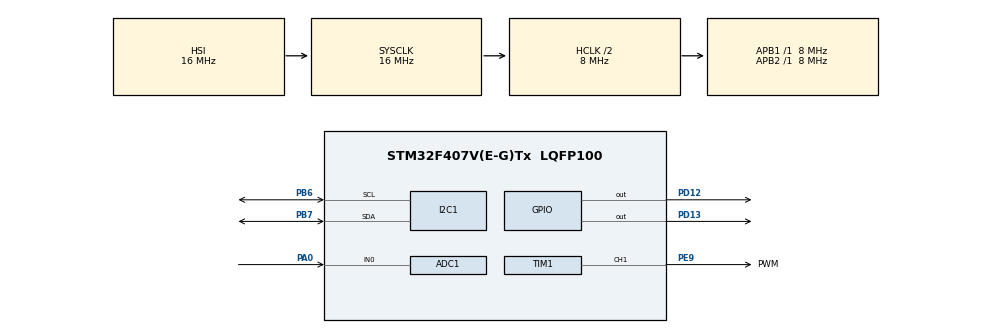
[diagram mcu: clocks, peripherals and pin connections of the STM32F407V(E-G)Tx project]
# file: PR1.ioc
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ADC1.Channel-0\#ChannelRegularConversion=ADC_CHANNEL_0
ADC1.NbrOfConversionFlag=1
ADC1.Rank-0\#ChannelRegularConversion=1
ADC1.SamplingTime-0\#ChannelRegularConversion=ADC_SAMPLETIME_3CYCLES
ADC1.master=1
Mcu.Family=STM32F4
Mcu.Name=STM32F407V(E-G)Tx
Mcu.Package=LQFP100
NVIC.ADC_IRQn=true\:0\:0\:false\:false\:true\:true
NVIC.I2C1_ER_IRQn=true\:0\:0\:false\:false\:true\:true
NVIC.I2C1_EV_IRQn=true\:0\:0\:false\:false\:true\:true
NVIC.PriorityGroup=NVIC_PRIORITYGROUP_4
NVIC.TIM6_DAC_IRQn=true\:0\:0\:false\:false\:true\:true
NVIC.TIM7_IRQn=true\:0\:0\:false\:false\:true\:true
PA0-WKUP.Signal=ADCx_IN0
PB6.Mode=I2C
PB6.Signal=I2C1_SCL
PB7.Mode=I2C
PB7.Signal=I2C1_SDA
PD12.Signal=GPIO_Output
PD13.Signal=GPIO_Output
PE9.GPIO_Label=PWM
PE9.GPIO_Speed=GPIO_SPEED_FREQ_HIGH
PE9.Signal=S_TIM1_CH1
PH0-OSC_IN.Mode=HSE-External-Oscillator
PH0-OSC_IN.Signal=RCC_OSC_IN
PH1-OSC_OUT.Mode=HSE-External-Oscillator
PH1-OSC_OUT.Signal=RCC_OSC_OUT
ProjectManager.HeapSize=0x200
ProjectManager.StackSize=0x400
ProjectManager.TargetToolchain=TrueSTUDIO
RCC.48MHZClocksFreq_Value=24000000
RCC.AHBCLKDivider=RCC_SYSCLK_DIV2
RCC.AHBFreq_Value=8000000
RCC.APB1Freq_Value=8000000
RCC.APB1TimFreq_Value=8000000
RCC.APB2Freq_Value=8000000
RCC.APB2TimFreq_Value=8000000
RCC.CortexFreq_Value=8000000
RCC.HCLKFreq_Value=8000000
RCC.HSE_VALUE=8000000
RCC.HSI_VALUE=16000000
RCC.LSE_VALUE=32768
RCC.PLLSourceVirtual=RCC_PLLSOURCE_HSE
RCC.SYSCLKFreq_VALUE=16000000
RCC.VCOOutputFreq_Value=96000000
SH.ADCx_IN0.0=ADC1_IN0,IN0
SH.S_TIM1_CH1.0=TIM1_CH1,PWM Generation1 CH1
TIM1.Channel-PWM\ Generation1\ CH1=TIM_CHANNEL_1
TIM1.Period=65535
TIM1.Prescaler=1
TIM1.Pulse-PWM\ Generation1\ CH1=1
TIM6.Period=1000
TIM6.Prescaler=8000
TIM6.TIM_MasterOutputTrigger=TIM_TRGO_UPDATE
TIM7.Period=100
TIM7.Prescaler=8000
TIM7.TIM_MasterOutputTrigger=TIM_TRGO_UPDATE
VP_TIM1_VS_ClockSourceINT.Mode=Internal
VP_TIM6_VS_ClockSourceINT.Mode=Enable_Timer
VP_TIM7_VS_ClockSourceINT.Mode=Enable_Timer
board=PR1

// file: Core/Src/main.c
/**
  ******************************************************************************
  * @file           : main.c
  * @brief          : Main program body
  ******************************************************************************
  ** This notice applies to any and all portions of this file
  * that are not between comment pairs USER CODE BEGIN and
  * USER CODE END. Other portions of this file, whether
  * inserted by the user or by software development tools
  * are owned by their respective copyright owners.
  *
  * COPYRIGHT(c) 2018 STMicroelectronics
  *
  * Redistribution and use in source and binary forms, with or without modification,
  * are permitted provided that the following conditions are met:
  *   1. Redistributions of source code must retain the above copyright notice,
  *      this list of conditions and the following disclaimer.
  *   2. Redistributions in binary form must reproduce the above copyright notice,
  *      this list of conditions and the following disclaimer in the documentation
  *      and/or other materials provided with the distribution.
  *   3. Neither the name of STMicroelectronics nor the names of its contributors
  *      may be used to endorse or promote products derived from this software
  *      without specific prior written permission.
  *
  * THIS SOFTWARE IS PROVIDED BY THE COPYRIGHT HOLDERS AND CONTRIBUTORS "AS IS"
  * AND ANY EXPRESS OR IMPLIED WARRANTIES, INCLUDING, BUT NOT LIMITED TO, THE
  * IMPLIED WARRANTIES OF MERCHANTABILITY AND FITNESS FOR A PARTICULAR PURPOSE ARE
  * DISCLAIMED. IN NO EVENT SHALL THE COPYRIGHT HOLDER OR CONTRIBUTORS BE LIABLE
  * FOR ANY DIRECT, INDIRECT, INCIDENTAL, SPECIAL, EXEMPLARY, OR CONSEQUENTIAL
  * DAMAGES (INCLUDING, BUT NOT LIMITED TO, PROCUREMENT OF SUBSTITUTE GOODS OR
  * SERVICES; LOSS OF USE, DATA, OR PROFITS; OR BUSINESS INTERRUPTION) HOWEVER
  * CAUSED AND ON ANY THEORY OF LIABILITY, WHETHER IN CONTRACT, STRICT LIABILITY,
  * OR TORT (INCLUDING NEGLIGENCE OR OTHERWISE) ARISING IN ANY WAY OUT OF THE USE
  * OF THIS SOFTWARE, EVEN IF ADVISED OF THE POSSIBILITY OF SUCH DAMAGE.
  *
  ******************************************************************************
  */
#include "main.h"
#include "stm32f4xx_hal.h"

ADC_HandleTypeDef hadc1;

I2C_HandleTypeDef hi2c1;

TIM_HandleTypeDef htim1;
TIM_HandleTypeDef htim6;
TIM_HandleTypeDef htim7;

/* USER CODE BEGIN PV */
/* Private variables ---------------------------------------------------------*/

/* USER CODE END PV */

void SystemClock_Config(void);
static void MX_GPIO_Init(void);
static void MX_ADC1_Init(void);
static void MX_TIM6_Init(void);
static void MX_TIM7_Init(void);
static void MX_I2C1_Init(void);
static void MX_TIM1_Init(void);

void HAL_TIM_MspPostInit(TIM_HandleTypeDef *htim);

/* USER CODE BEGIN PFP */
/* Private function prototypes -----------------------------------------------*/
void UserInit(void);
void LcdAdc(void);

/* USER CODE END PFP */

/* USER CODE BEGIN 0 */
uint32_t i,d;
/* USER CODE END 0 */

int main(void)
{

  /* MCU Configuration----------------------------------------------------------*/

  /* Reset of all peripherals, Initializes the Flash interface and the Systick. */
  HAL_Init();

  /* Configure the system clock */
  SystemClock_Config();

  /* Initialize all configured peripherals */
  MX_GPIO_Init();
  MX_ADC1_Init();
  MX_TIM6_Init();
  MX_TIM7_Init();
  MX_I2C1_Init();
  MX_TIM1_Init();
  /* USER CODE BEGIN 2 */
  init();
  init();
  init();
  UserInit();
  //WriteDS();
  //volatile int i = 0;
  //volatile int j = 0;
  /* USER CODE END 2 */

  /* Infinite loop */
  /* USER CODE BEGIN WHILE */
  while (1)
  {

	  Adc1LCD();
	  ReadDS();
	  //HAL_GPIO_TogglePin(GPIOD, GPIO_PIN_13);
	  HAL_Delay(100);

  /* USER CODE END WHILE */

  }

}

void SystemClock_Config(void)
{

  RCC_OscInitTypeDef RCC_OscInitStruct;
  RCC_ClkInitTypeDef RCC_ClkInitStruct;

    /**Configure the main internal regulator output voltage
    */
  __HAL_RCC_PWR_CLK_ENABLE();

  __HAL_PWR_VOLTAGESCALING_CONFIG(PWR_REGULATOR_VOLTAGE_SCALE1);

    /**Initializes the CPU, AHB and APB busses clocks
    */
  RCC_OscInitStruct.OscillatorType = RCC_OSCILLATORTYPE_HSI;
  RCC_OscInitStruct.HSIState = RCC_HSI_ON;
  RCC_OscInitStruct.HSICalibrationValue = 16;
  RCC_OscInitStruct.PLL.PLLState = RCC_PLL_NONE;
  if (HAL_RCC_OscConfig(&RCC_OscInitStruct) != HAL_OK)
  {
    _Error_Handler(__FILE__, __LINE__);
  }

    /**Initializes the CPU, AHB and APB busses clocks
    */
  RCC_ClkInitStruct.ClockType = RCC_CLOCKTYPE_HCLK|RCC_CLOCKTYPE_SYSCLK
                              |RCC_CLOCKTYPE_PCLK1|RCC_CLOCKTYPE_PCLK2;
  RCC_ClkInitStruct.SYSCLKSource = RCC_SYSCLKSOURCE_HSI;
  RCC_ClkInitStruct.AHBCLKDivider = RCC_SYSCLK_DIV2;
  RCC_ClkInitStruct.APB1CLKDivider = RCC_HCLK_DIV1;
  RCC_ClkInitStruct.APB2CLKDivider = RCC_HCLK_DIV1;

  if (HAL_RCC_ClockConfig(&RCC_ClkInitStruct, FLASH_LATENCY_0) != HAL_OK)
  {
    _Error_Handler(__FILE__, __LINE__);
  }

    /**Configure the Systick interrupt time
    */
  HAL_SYSTICK_Config(HAL_RCC_GetHCLKFreq()/1000);

    /**Configure the Systick
    */
  HAL_SYSTICK_CLKSourceConfig(SYSTICK_CLKSOURCE_HCLK);

  /* SysTick_IRQn interrupt configuration */
  HAL_NVIC_SetPriority(SysTick_IRQn, 0, 0);
}

/* ADC1 init function */
static void MX_ADC1_Init(void)
{

  ADC_ChannelConfTypeDef sConfig;

    /**Configure the global features of the ADC (Clock, Resolution, Data Alignment and number of conversion)
    */
  hadc1.Instance = ADC1;
  hadc1.Init.ClockPrescaler = ADC_CLOCK_SYNC_PCLK_DIV2;
  hadc1.Init.Resolution = ADC_RESOLUTION_12B;
  hadc1.Init.ScanConvMode = DISABLE;
  hadc1.Init.ContinuousConvMode = DISABLE;
  hadc1.Init.DiscontinuousConvMode = DISABLE;
  hadc1.Init.ExternalTrigConvEdge = ADC_EXTERNALTRIGCONVEDGE_NONE;
  hadc1.Init.ExternalTrigConv = ADC_SOFTWARE_START;
  hadc1.Init.DataAlign = ADC_DATAALIGN_RIGHT;
  hadc1.Init.NbrOfConversion = 1;
  hadc1.Init.DMAContinuousRequests = DISABLE;
  hadc1.Init.EOCSelection = ADC_EOC_SINGLE_CONV;
  if (HAL_ADC_Init(&hadc1) != HAL_OK)
  {
    _Error_Handler(__FILE__, __LINE__);
  }

    /**Configure for the selected ADC regular channel its corresponding rank in the sequencer and its sample time.
    */
  sConfig.Channel = ADC_CHANNEL_0;
  sConfig.Rank = 1;
  sConfig.SamplingTime = ADC_SAMPLETIME_3CYCLES;
  if (HAL_ADC_ConfigChannel(&hadc1, &sConfig) != HAL_OK)
  {
    _Error_Handler(__FILE__, __LINE__);
  }

}

/* I2C1 init function */
static void MX_I2C1_Init(void)
{

  hi2c1.Instance = I2C1;
  hi2c1.Init.ClockSpeed = 100000;
  hi2c1.Init.DutyCycle = I2C_DUTYCYCLE_2;
  hi2c1.Init.OwnAddress1 = 0;
  hi2c1.Init.AddressingMode = I2C_ADDRESSINGMODE_7BIT;
  hi2c1.Init.DualAddressMode = I2C_DUALADDRESS_DISABLE;
  hi2c1.Init.OwnAddress2 = 0;
  hi2c1.Init.GeneralCallMode = I2C_GENERALCALL_DISABLE;
  hi2c1.Init.NoStretchMode = I2C_NOSTRETCH_DISABLE;
  if (HAL_I2C_Init(&hi2c1) != HAL_OK)
  {
    _Error_Handler(__FILE__, __LINE__);
  }

}

/* TIM1 init function */
static void MX_TIM1_Init(void)
{

  TIM_ClockConfigTypeDef sClockSourceConfig;
  TIM_MasterConfigTypeDef sMasterConfig;
  TIM_OC_InitTypeDef sConfigOC;
  TIM_BreakDeadTimeConfigTypeDef sBreakDeadTimeConfig;

  htim1.Instance = TIM1;
  htim1.Init.Prescaler = 1;
  htim1.Init.CounterMode = TIM_COUNTERMODE_UP;
  htim1.Init.Period = 65535;
  htim1.Init.ClockDivision = TIM_CLOCKDIVISION_DIV1;
  htim1.Init.RepetitionCounter = 0;
  if (HAL_TIM_Base_Init(&htim1) != HAL_OK)
  {
    _Error_Handler(__FILE__, __LINE__);
  }

  sClockSourceConfig.ClockSource = TIM_CLOCKSOURCE_INTERNAL;
  if (HAL_TIM_ConfigClockSource(&htim1, &sClockSourceConfig) != HAL_OK)
  {
    _Error_Handler(__FILE__, __LINE__);
  }

  if (HAL_TIM_PWM_Init(&htim1) != HAL_OK)
  {
    _Error_Handler(__FILE__, __LINE__);
  }

  sMasterConfig.MasterOutputTrigger = TIM_TRGO_RESET;
  sMasterConfig.MasterSlaveMode = TIM_MASTERSLAVEMODE_DISABLE;
  if (HAL_TIMEx_MasterConfigSynchronization(&htim1, &sMasterConfig) != HAL_OK)
  {
    _Error_Handler(__FILE__, __LINE__);
  }

  sConfigOC.OCMode = TIM_OCMODE_PWM1;
  sConfigOC.Pulse = 1;
  sConfigOC.OCPolarity = TIM_OCPOLARITY_HIGH;
  sConfigOC.OCNPolarity = TIM_OCNPOLARITY_HIGH;
  sConfigOC.OCFastMode = TIM_OCFAST_DISABLE;
  sConfigOC.OCIdleState = TIM_OCIDLESTATE_RESET;
  sConfigOC.OCNIdleState = TIM_OCNIDLESTATE_RESET;
  if (HAL_TIM_PWM_ConfigChannel(&htim1, &sConfigOC, TIM_CHANNEL_1) != HAL_OK)
  {
    _Error_Handler(__FILE__, __LINE__);
  }

  sBreakDeadTimeConfig.OffStateRunMode = TIM_OSSR_DISABLE;
  sBreakDeadTimeConfig.OffStateIDLEMode = TIM_OSSI_DISABLE;
  sBreakDeadTimeConfig.LockLevel = TIM_LOCKLEVEL_OFF;
  sBreakDeadTimeConfig.DeadTime = 0;
  sBreakDeadTimeConfig.BreakState = TIM_BREAK_DISABLE;
  sBreakDeadTimeConfig.BreakPolarity = TIM_BREAKPOLARITY_HIGH;
  sBreakDeadTimeConfig.AutomaticOutput = TIM_AUTOMATICOUTPUT_DISABLE;
  if (HAL_TIMEx_ConfigBreakDeadTime(&htim1, &sBreakDeadTimeConfig) != HAL_OK)
  {
    _Error_Handler(__FILE__, __LINE__);
  }

  HAL_TIM_MspPostInit(&htim1);

}

/* TIM6 init function */
static void MX_TIM6_Init(void)
{

  TIM_MasterConfigTypeDef sMasterConfig;

  htim6.Instance = TIM6;
  htim6.Init.Prescaler = 8000;
  htim6.Init.CounterMode = TIM_COUNTERMODE_UP;
  htim6.Init.Period = 500;
  if (HAL_TIM_Base_Init(&htim6) != HAL_OK)
  {
    _Error_Handler(__FILE__, __LINE__);
  }

  sMasterConfig.MasterOutputTrigger = TIM_TRGO_UPDATE;
  sMasterConfig.MasterSlaveMode = TIM_MASTERSLAVEMODE_DISABLE;
  if (HAL_TIMEx_MasterConfigSynchronization(&htim6, &sMasterConfig) != HAL_OK)
  {
    _Error_Handler(__FILE__, __LINE__);
  }

}

/* TIM7 init function */
static void MX_TIM7_Init(void)
{

  TIM_MasterConfigTypeDef sMasterConfig;

  htim7.Instance = TIM7;
  htim7.Init.Prescaler = 8000;
  htim7.Init.CounterMode = TIM_COUNTERMODE_UP;
  htim7.Init.Period = 100;
  if (HAL_TIM_Base_Init(&htim7) != HAL_OK)
  {
    _Error_Handler(__FILE__, __LINE__);
  }

  sMasterConfig.MasterOutputTrigger = TIM_TRGO_UPDATE;
  sMasterConfig.MasterSlaveMode = TIM_MASTERSLAVEMODE_DISABLE;
  if (HAL_TIMEx_MasterConfigSynchronization(&htim7, &sMasterConfig) != HAL_OK)
  {
    _Error_Handler(__FILE__, __LINE__);
  }

}

/** Configure pins as
        * Analog
        * Input
        * Output
        * EVENT_OUT
        * EXTI
*/
static void MX_GPIO_Init(void)
{

  GPIO_InitTypeDef GPIO_InitStruct;

  /* GPIO Ports Clock Enable */
  __HAL_RCC_GPIOH_CLK_ENABLE();
  __HAL_RCC_GPIOA_CLK_ENABLE();
  __HAL_RCC_GPIOE_CLK_ENABLE();
  __HAL_RCC_GPIOD_CLK_ENABLE();
  __HAL_RCC_GPIOB_CLK_ENABLE();

  /*Configure GPIO pin Output Level */
  HAL_GPIO_WritePin(GPIOD, GPIO_PIN_12|GPIO_PIN_13, GPIO_PIN_RESET);

  /*Configure GPIO pins : PD12 PD13 */
  GPIO_InitStruct.Pin = GPIO_PIN_12|GPIO_PIN_13;
  GPIO_InitStruct.Mode = GPIO_MODE_OUTPUT_PP;
  GPIO_InitStruct.Pull = GPIO_NOPULL;
  GPIO_InitStruct.Speed = GPIO_SPEED_FREQ_LOW;
  HAL_GPIO_Init(GPIOD, &GPIO_InitStruct);

}

/* USER CODE BEGIN 4 */
void UserInit(void)
{
	HAL_TIM_Base_Start(&htim7);
	HAL_TIM_Base_Start_IT(&htim7);
	HAL_TIM_Base_Start(&htim6);
	HAL_TIM_Base_Start_IT(&htim6);
	HAL_TIM_PWM_Start(&htim1, HAL_TIM_ACTIVE_CHANNEL_1);
	HAL_TIM_Base_Start(&htim1);
	HAL_TIM_Base_Start_IT(&htim1);
	HAL_TIM_PWM_Start(&htim1,TIM_CHANNEL_1);
	//HAL_TIMEx_PWMN_Start(&htim1, TIM_CHANNEL_1);
}

void LcdAdc(void)
{

	//Adc1LCD();
}
/* USER CODE END 4 */

void _Error_Handler(char *file, int line)
{
  while(1)
  {
  }
}

/************************ (C) COPYRIGHT STMicroelectronics *****END OF FILE****/
